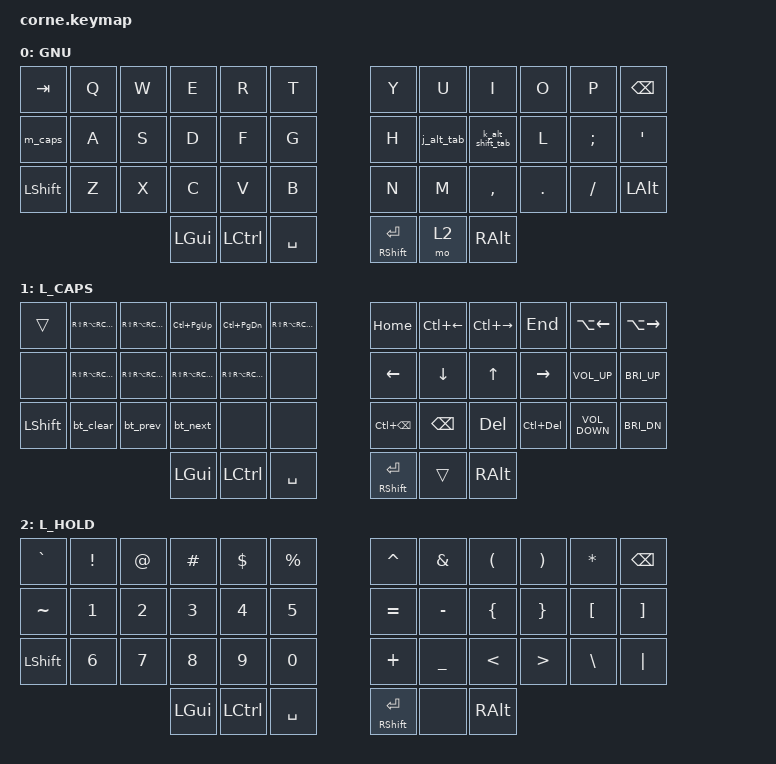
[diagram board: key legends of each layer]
/*
 * Copyright (c) 2020 The ZMK Contributors
 *
 * SPDX-License-Identifier: MIT
 */

#include <behaviors.dtsi>
#include <dt-bindings/zmk/bt.h>
#include <dt-bindings/zmk/keys.h>

/ {
    macros {
        grave_nomod: grave_nomod {
            compatible = "zmk,behavior-macro";
            label = "GRAVE_NOMOD";
            #binding-cells = <0>;
            bindings = <&kp GRAVE>;
        };

        cmd_space_macro: cmd_space_macro {
            compatible = "zmk,behavior-macro";
            label = "CMD_SPACE_MACRO";
            #binding-cells = <0>;
            bindings = <&kp LA(SPACE)>;
        };

        win_gui_macro: win_gui_macro {
            compatible = "zmk,behavior-macro";
            label = "WIN_GUI_MACRO";
            #binding-cells = <0>;
            bindings = <&kp LEFT_GUI>;
        };
    };

    behaviors {
        m_caps: m_caps {
            compatible = "zmk,behavior-mod-morph";
            label = "M_CAPS";
            bindings = <&lt 1 ESC>, <&kp TILDE>;

            #binding-cells = <0>;
            mods = <(MOD_RSFT)>;
        };

        m_tab: m_tab {
            compatible = "zmk,behavior-mod-morph";
            label = "M_TAB";
            bindings = <&kp TAB>, <&grave_nomod>;

            #binding-cells = <0>;
            mods = <(MOD_RSFT)>;
        };

        j_alt_tab: j_alt_tab {
            compatible = "zmk,behavior-mod-morph";
            label = "J_ALT_TAB";
            bindings = <&kp J>, <&kp LA(TAB)>;

            #binding-cells = <0>;
            mods = <(MOD_RALT)>;
        };

        k_alt_shift_tab: k_alt_shift_tab {
            compatible = "zmk,behavior-mod-morph";
            label = "K_ALT_SHIFT_TAB";
            bindings = <&kp K>, <&kp LS(LA(TAB))>;

            #binding-cells = <0>;
            mods = <(MOD_RALT)>;
        };

        bt_next: bt_next {
            compatible = "zmk,behavior-tap-dance";
            label = "BT_NEXT";
            #binding-cells = <0>;
            bindings = <&none>, <&none>, <&bt BT_NXT>;
        };

        bt_prev: bt_prev {
            compatible = "zmk,behavior-tap-dance";
            label = "BT_PREV";
            #binding-cells = <0>;
            bindings = <&none>, <&none>, <&bt BT_PRV>;
        };

        bt_clear: bt_clear {
            compatible = "zmk,behavior-tap-dance";
            label = "BT_CLEAR";
            #binding-cells = <0>;
            bindings = <&none>, <&none>, <&none>, <&none>, <&bt BT_CLR>;
        };

        w_caps: w_caps {
            compatible = "zmk,behavior-mod-morph";
            label = "W_CAPS";
            bindings = <&lt 0 ESCAPE>, <&kp TILDE>;

            #binding-cells = <0>;
            mods = <(MOD_RSFT)>;
        };
    };

    combos {
        compatible = "zmk,combos";

        mac_spotlight {
            bindings = <&kp LA(SPACE)>;
            key-positions = <41 35>;
            timeout-ms = <70>;
            layers = <0 1 2>;
        };
    };

    keymap {
        compatible = "zmk,keymap";

        GNU {
            // -----------------------------------------------------------------------------------------
            // |  TAB |  Q  |  W  |  E  |  R  |  T  |   |  Y  |  U   |  I  |  O  |  P  | BKSP |
            // | CTRL |  A  |  S  |  D  |  F  |  G  |   |  H  |  J   |  K  |  L  |  ;  |  '   |
            // | SHFT |  Z  |  X  |  C  |  V  |  B  |   |  N  |  M   |  ,  |  .  |  /  | ESC  |
            //                    | GUI | LWR | SPC |   | ENT | RSE  | ALT |

            label = "GNU";
            bindings = <
&kp TAB    &kp Q  &kp W  &kp E         &kp R             &kp T        &kp Y                  &kp U       &kp I             &kp O    &kp P     &kp BACKSPACE
&m_caps    &kp A  &kp S  &kp D         &kp F             &kp G        &kp H                  &j_alt_tab  &k_alt_shift_tab  &kp L    &kp SEMI  &kp SQT
&kp LSHFT  &kp Z  &kp X  &kp C         &kp V             &kp B        &kp N                  &kp M       &kp COMMA         &kp DOT  &kp FSLH  &kp LEFT_ALT
                         &kp LEFT_GUI  &kp LEFT_CONTROL  &kp SPACE    &mt RIGHT_SHIFT ENTER  &mo 2       &kp RALT
            >;
        };

        L_CAPS {
            // -----------------------------------------------------------------------------------------
            // |  TAB |  1  |  2  |  3  |  4  |  5  |   |  6  |  7  |  8  |  9  |  0  | BKSP |
            // | BTCLR| BT1 | BT2 | BT3 | BT4 | BT5 |   | LFT | DWN |  UP | RGT |     |      |
            // | SHFT |     |     |     |     |     |   |     |     |     |     |     |      |
            //                    | GUI |     | SPC |   | ENT |     | ALT |

            label = "L_CAPS";
            bindings = <
&trans          &kp RS(RA(RC(RG(Q))))  &kp RS(RA(RC(RG(W))))  &kp LC(PAGE_UP)        &kp LC(PAGE_DOWN)      &kp RS(RA(RC(RG(T))))    &kp HOME               &kp LC(LEFT_ARROW)  &kp LC(RIGHT_ARROW)  &kp END         &kp LA(LEFT_ARROW)  &kp LA(RIGHT_ARROW)
&none           &kp RS(RA(RC(RG(A))))  &kp RS(RA(RC(RG(S))))  &kp RS(RA(RC(RG(D))))  &kp RS(RA(RC(RG(F))))  &none                    &kp LEFT               &kp DOWN            &kp UP               &kp RIGHT       &kp C_VOLUME_UP     &kp C_BRI_UP
&kp LEFT_SHIFT  &bt_clear              &bt_prev               &bt_next               &none                  &none                    &kp LC(BACKSPACE)      &kp BACKSPACE       &kp DELETE           &kp LC(DELETE)  &kp C_VOLUME_DOWN   &kp C_BRI_DN
                                                              &kp LEFT_GUI           &kp LEFT_CONTROL       &kp SPACE                &mt RIGHT_SHIFT ENTER  &trans              &kp RIGHT_ALT
            >;
        };

        L_HOLD {
            // -----------------------------------------------------------------------------------------
            // |  TAB |  !  |  @  |  #  |  $  |  %  |   |  ^  |  &  |  *  |  (  |  )  | BKSP |
            // | CTRL |     |     |     |     |     |   |  -  |  =  |  [  |  ]  |  \  |  `   |
            // | SHFT |     |     |     |     |     |   |  _  |  +  |  {  |  }  | "|" |  ~   |
            //                    | GUI |     | SPC |   | ENT |     | ALT |

            label = "L_HOLD";
            bindings = <
&kp GRAVE  &kp EXCL  &kp AT  &kp HASH      &kp DLLR          &kp PRCNT    &kp CARET              &kp AMPS   &kp LEFT_PARENTHESIS  &kp RIGHT_PARENTHESIS  &kp ASTERISK      &kp BSPC
&kp TILDE  &kp N1    &kp N2  &kp N3        &kp N4            &kp N5       &kp EQUAL              &kp MINUS  &kp LEFT_BRACE        &kp RIGHT_BRACE        &kp LEFT_BRACKET  &kp RIGHT_BRACKET
&kp LSHFT  &kp N6    &kp N7  &kp N8        &kp N9            &kp N0       &kp PLUS               &kp UNDER  &kp LESS_THAN         &kp GREATER_THAN       &kp BACKSLASH     &kp PIPE
                             &kp LEFT_GUI  &kp LEFT_CONTROL  &kp SPACE    &mt RIGHT_SHIFT ENTER  &none      &kp RALT
            >;
        };
    };
};
